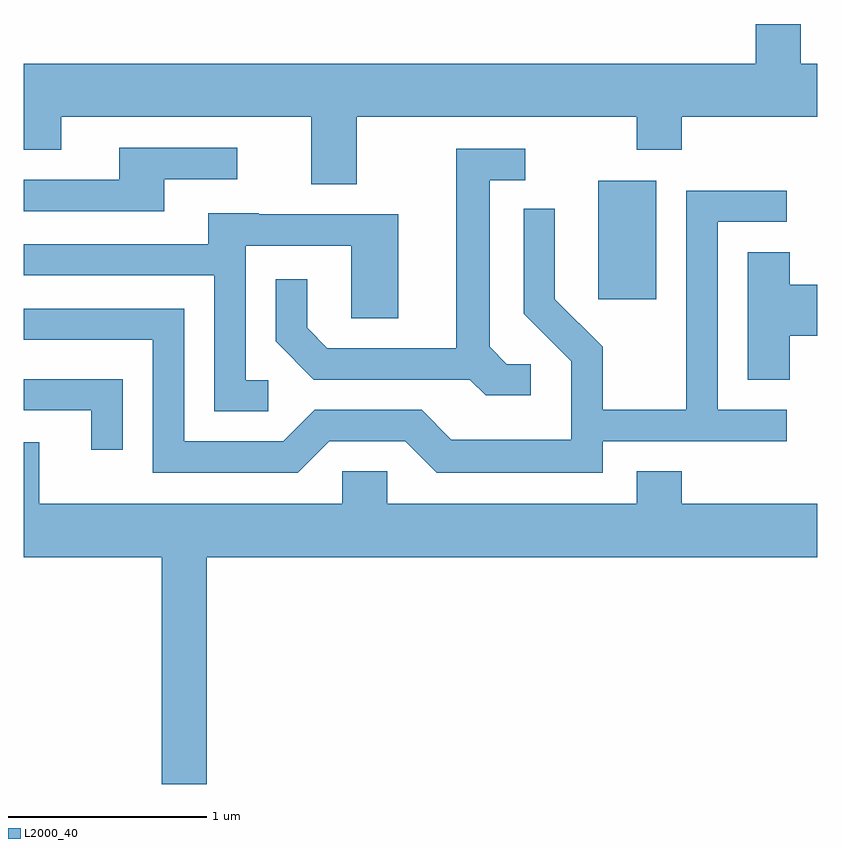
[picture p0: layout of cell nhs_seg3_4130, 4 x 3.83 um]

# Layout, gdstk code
import gdstk
lib = gdstk.Library(unit=1e-6, precision=1e-09)
def R(c, l, rs):  # rectangles x0, y0, x1, y1
    for r in rs: c.add(gdstk.rectangle(r[:2], r[2:], *l))
def P(c, l, *ps):  # polygons
    for p in ps: c.add(gdstk.Polygon(p, *l))
L2000_40 = (2000, 40)

nhs_seg3_4130 = lib.new_cell('nhs_seg3_4130')
R(nhs_seg3_4130, L2000_40, [(308.506,1218.336,308.799,1218.934)])
P(nhs_seg3_4130, L2000_40, [(307.289,1219.256),(308.701,1219.256),(308.701,1219.091),(308.929,1219.091),(308.929,1219.256),(309.611,1219.256),(309.611,1219.524),(309.529,1219.524),(309.529,1219.724),(309.301,1219.724),(309.301,1219.524),(305.611,1219.524),(305.611,1219.091),(305.799,1219.091),(305.799,1219.256),(307.061,1219.256),(307.061,1218.916),(307.289,1218.916)],
  [(306.319,1218.941),(306.688,1218.941),(306.688,1219.099),(306.091,1219.099),(306.091,1218.939),(305.611,1218.939),(305.611,1218.781),(306.319,1218.781)],
  [(308.168,1218.009),(308.047,1218.009),(307.959,1218.097),(307.959,1218.936),(308.138,1218.936),(308.138,1219.094),(307.791,1219.094),(307.791,1218.089),(307.142,1218.089),(307.039,1218.192),(307.039,1218.438),(306.881,1218.438),(306.881,1218.124),(307.074,1217.931),(307.859,1217.931),(307.939,1217.851),(308.168,1217.851)],
  [(307.152,1217.621),(307.534,1217.621),(307.694,1217.461),(308.529,1217.461),(308.529,1217.621),(309.458,1217.621),(309.458,1217.779),(309.109,1217.779),(309.109,1218.726),(309.458,1218.726),(309.458,1218.884),(308.951,1218.884),(308.951,1217.779),(308.529,1217.779),(308.529,1218.097),(308.289,1218.337),(308.289,1218.793),(308.131,1218.793),(308.131,1218.264),(308.371,1218.024),(308.371,1217.629),(307.767,1217.629),(307.617,1217.779),(307.079,1217.779),(306.919,1217.619),(306.419,1217.619),(306.419,1218.289),(305.611,1218.289),(305.611,1218.131),(306.261,1218.131),(306.261,1217.461),(306.992,1217.461)],
  [(306.843,1217.929),(306.729,1217.929),(306.729,1218.606),(307.261,1218.606),(307.261,1218.241),(307.499,1218.241),(307.499,1218.764),(306.795,1218.764),(306.795,1218.769),(306.541,1218.769),(306.541,1218.614),(305.611,1218.614),(305.611,1218.456),(306.571,1218.456),(306.571,1217.771),(306.843,1217.771)],
  [(309.474,1218.151),(309.611,1218.151),(309.611,1218.409),(309.474,1218.409),(309.474,1218.574),(309.261,1218.574),(309.261,1217.931),(309.474,1217.931)],
  [(306.109,1217.934),(305.611,1217.934),(305.611,1217.776),(305.951,1217.776),(305.951,1217.578),(306.109,1217.578)],
  [(306.534,1217.036),(309.611,1217.036),(309.611,1217.304),(308.929,1217.304),(308.929,1217.469),(308.701,1217.469),(308.701,1217.304),(307.444,1217.304),(307.444,1217.469),(307.216,1217.469),(307.216,1217.304),(305.689,1217.304),(305.689,1217.614),(305.611,1217.614),(305.611,1217.036),(306.306,1217.036),(306.306,1215.892),(306.534,1215.892)])

lib.write_gds('nhs_seg3_4130.gds')
